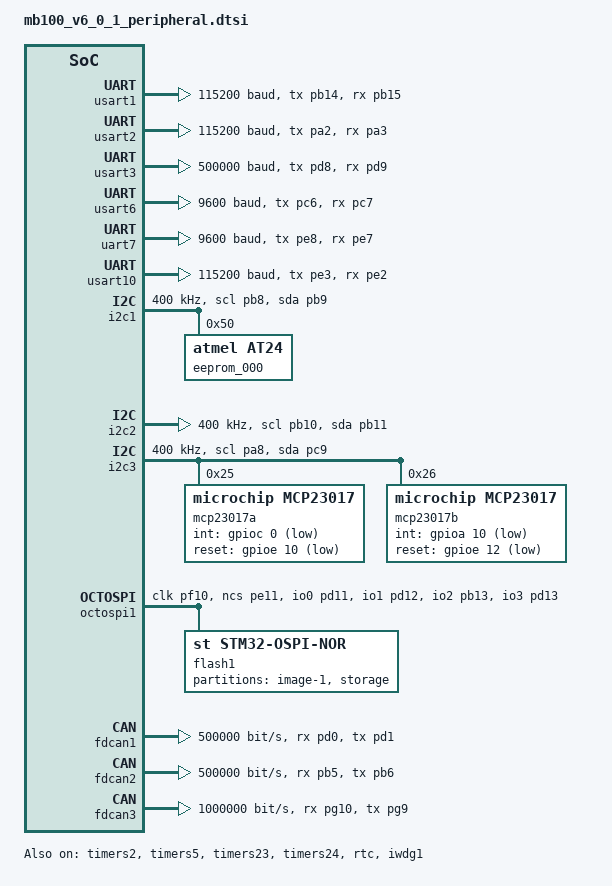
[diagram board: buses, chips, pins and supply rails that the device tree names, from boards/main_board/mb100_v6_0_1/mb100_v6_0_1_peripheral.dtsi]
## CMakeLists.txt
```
cmake_minimum_required(VERSION 3.20.0)
find_package(Zephyr REQUIRED HINTS $ENV{ZEPHYR_BASE})
project(HELLO_WORLD)

target_sources(app PRIVATE src/main.c)
```

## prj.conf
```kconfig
# Enable UART console for printk
CONFIG_PRINTK=y
CONFIG_SERIAL=y
CONFIG_CONSOLE=y


CONFIG_GPIO=y
CONFIG_I2C=y
CONFIG_I2C_INIT_PRIORITY=50
CONFIG_UART_CONSOLE=y
CONFIG_STDOUT_CONSOLE=y

CONFIG_MAIN_STACK_SIZE=2048

CONFIG_SHELL=y
CONFIG_SHELL_CMDS=y
CONFIG_SHELL_LOG_BACKEND=n
CONFIG_SHELL_ARGC_MAX=16
CONFIG_SHELL_LOG_FORMAT_TIMESTAMP=n
CONFIG_SHELL_PROMPT_UART="SkyCar:~$ "
CONFIG_SHELL_STACK_SIZE=4096

CONFIG_GPIO_SHELL=y
```

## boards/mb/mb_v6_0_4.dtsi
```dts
/* device tree for peripheral devices only use usart 3 500 000 */

&usart3 {
	//Serving: Logging, and Shell.
	pinctrl-0 = <&usart3_tx_pd8 &usart3_rx_pd9>;
	current-speed = <500000>;
	pinctrl-names = "default";
	status = "okay";
};
```

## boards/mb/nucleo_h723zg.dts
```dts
/*
 * Copyright (c) 2020 Alexander Kozhinov <ak.alexander.kozhinov@gmail.com>
 * SPDX-License-Identifier: Apache-2.0
 */

/dts-v1/;
#include <st/h7/stm32h723Xg.dtsi>
#include <st/h7/stm32h723zgtx-pinctrl.dtsi>
#include "arduino_r3_connector.dtsi"
#include <zephyr/dt-bindings/input/input-event-codes.h>

/*
 * WARNING:
 * JP6 and SB72 must be ON when using Ethernet.
 */

/ {
	model = "STMicroelectronics STM32H723ZG-NUCLEO board";
	compatible = "st,stm32h723zg-nucleo";

	chosen {
		zephyr,console = &usart3;
		zephyr,shell-uart = &usart3;
		zephyr,sram = &sram0;
		zephyr,flash = &flash0;
	};

	leds: leds {
		compatible = "gpio-leds";
		green_led: led_0 {
			gpios = <&gpiob 0 GPIO_ACTIVE_HIGH>;
			label = "User LD1";
		};
		yellow_led: led_1 {
			gpios = <&gpioe 1 GPIO_ACTIVE_HIGH>;
			label = "User LD2";
		};
		red_led: led_2 {
			gpios = <&gpiob 14 GPIO_ACTIVE_HIGH>;
			label = "User LD3";
		};
	};


	gpio_keys {
		compatible = "gpio-keys";
		user_button: button_0 {
			label = "User";
			gpios = <&gpioc 13 GPIO_ACTIVE_HIGH>;
			zephyr,code = <INPUT_KEY_0>;
		};
	};

	
};

&clk_hse {
	clock-frequency = <DT_FREQ_M(25)>; /* HSE 25MHz clock */
	status = "okay";
};

&clk_lsi {
	status = "okay";
};

&pll {
	div-m = <4>;
	mul-n = <88>;
	div-p = <1>;
	div-q = <5>;
	div-r = <2>;
	clocks = <&clk_hse>;
	status = "okay";
};

&rcc {
	clocks = <&pll>;
	clock-frequency = <DT_FREQ_M(550)>;
	d1cpre = <1>;
	hpre = <2>;    /* HCLK: 275   MHz */
	d1ppre = <2>;  /* APB1: 137.5 MHz */
	d2ppre1 = <2>; /* APB2: 137.5 MHz */
	d2ppre2 = <2>; /* APB3: 137.5 MHz */
	d3ppre = <2>;  /* APB4: 137.5 MHz */
};

&usart3 {
	pinctrl-0 = <&usart3_tx_pd8 &usart3_rx_pd9>;
	pinctrl-names = "default";
	current-speed = <115200>;
	status = "okay";
};
```

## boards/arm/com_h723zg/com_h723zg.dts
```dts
/*
 *        Copyright (c) PINGSPACE SDN BHD
 *        Author: Manojkumar <manojkumar.subramaniam@pingspace.co>
 *        SPDX-License-Identifier: Apache-2.0
 *        DTS FOR CUSTOM V1 BOARD (BSP)
 */
/dts-v1/;
#include <st/h7/stm32h723Xg.dtsi>
#include <st/h7/stm32h723zgtx-pinctrl.dtsi>
#include <zephyr/dt-bindings/input/input-event-codes.h>

/ {
	chosen {
		zephyr,sram = &sram0;
		zephyr,flash = &flash0;
	};
};

&clk_hse {
	clock-frequency = <DT_FREQ_M(25)>; /* HSE 25MHz clock */
	status = "okay";
};

&clk_lsi {
	status = "okay";
};

&pll {
	div-m = <4>;
	mul-n = <88>;
	div-p = <1>;
	div-q = <5>;
	div-r = <2>;
	clocks = <&clk_hse>;
	status = "okay";
};

&rcc {
	clocks = <&pll>;
	clock-frequency = <DT_FREQ_M(550)>;
	d1cpre = <1>;
	hpre = <2>;    /* HCLK: 275   MHz */
	d1ppre = <2>;  /* APB1: 137.5 MHz */
	d2ppre1 = <2>; /* APB2: 137.5 MHz */
	d2ppre2 = <2>; /* APB3: 137.5 MHz */
	d3ppre = <2>;  /* APB4: 137.5 MHz */
};
```

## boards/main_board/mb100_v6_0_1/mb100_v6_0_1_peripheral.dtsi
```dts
/*
 *        Copyright (c) PINGSPACE SDN BHD
 *        Author: Yi Yun Lau <lau.yi.yun@pingspace.co>
 *        SPDX-License-Identifier: Apache-2.0
 *        Peripheral support and configs
 */

/*uarts start*/
&usart1 {
	//Serving: SC - ESP32 Communication
	pinctrl-0 = <&usart1_tx_pb14 &usart1_rx_pb15>;
	current-speed = <115200>;
	dmas = <&dmamux1 2 42 0x440>,
	       <&dmamux1 1 41 0x480>;
	pinctrl-names = "default";
	dma-names = "tx", "rx";
	status = "okay";
};

&usart2 {
	//Serving: SC - ESP32 Boot Flash
	pinctrl-0 = <&usart2_tx_pa2 &usart2_rx_pa3>;
	current-speed = <115200>;
	dmas = <&dmamux1 4 44 0x440>,
	       <&dmamux1 3 43 0x480>;
	pinctrl-names = "default";
	dma-names = "tx", "rx";
	status = "okay";
};

&usart3 {
	//Serving: Logging, and Shell.
	pinctrl-0 = <&usart3_tx_pd8 &usart3_rx_pd9>;
	current-speed = <500000>;
	pinctrl-names = "default";
	status = "okay";
};

&usart6 {
	//Serving: Rail QR Scanner
	pinctrl-0 = <&usart6_tx_pc6 &usart6_rx_pc7>;
	current-speed = <9600>;
	pinctrl-names = "default";
	status = "okay";
};

&uart7 {
	//Serving: Scanner A
	pinctrl-0 = <&uart7_tx_pe8 &uart7_rx_pe7>;
	current-speed = <9600>;
	pinctrl-names = "default";
	status = "okay";
};

&usart10 {
	//Serving: Zigbee
	pinctrl-0 = <&usart10_tx_pe3 &usart10_rx_pe2>;
	current-speed = <115200>;
	dmas = <&dmamux1 12 119 0x440>,
	       <&dmamux1 11 118 0x480>;
	pinctrl-names = "default";
	dma-names = "tx", "rx";
	status = "okay";
};
/*uarts end*/

/* i2c start */
&i2c1 {
	//Serving: EEPROM
	pinctrl-0 = <&i2c1_scl_pb8 &i2c1_sda_pb9>;
	pinctrl-names = "default";
	status = "okay";
	clock-frequency = <I2C_BITRATE_FAST>;

	// eeprom reg address: 1010 (standard eeprom initial address)
	// A0: 0, A1: 0, A2: 0: 000
	// eeprom i2c address: 0b 1010000 (0x50)
	eeprom_000: eeprom@50 {
		compatible = "atmel,at24";
		reg = <0x50>;
		size = <65536>;
		pagesize = <32>;
		address-width = <16>;
		timeout = <5>;
	};
};

&i2c2 {
	//Serving: Temperature Sensor & IMU Sensor
	pinctrl-0 = <&i2c2_scl_pb10 &i2c2_sda_pb11>;
	pinctrl-names = "default";
	status = "okay";
	clock-frequency = <I2C_BITRATE_FAST>;
};

&i2c3 {
	//Serving: IO Expander
	pinctrl-0 = <&i2c3_scl_pa8 &i2c3_sda_pc9>;
	pinctrl-names = "default";
	status = "okay";
	clock-frequency = <I2C_BITRATE_FAST>;

	mcp23017a: mcp23017a@25 { // Encoder Mux (Outputs)
		compatible = "microchip,mcp23017";
		reg = <0x25>;
		gpio-controller;
		#gpio-cells = <2>;
		ngpios = <16>;
		status = "okay";
		interrupt-controller;
		int-gpios = <&gpioc 0 GPIO_ACTIVE_LOW>; /*PC0*/
		reset-gpios = <&gpioe 10 GPIO_ACTIVE_LOW>; /*PE10*/
	};

	mcp23017b: mcp23017b@26 { // Panel Switch (Inputs Interrupt)
		compatible = "microchip,mcp23017";
		reg = <0x26>;
		gpio-controller;
		#gpio-cells = <2>;
		ngpios = <16>;
		status = "okay";
		interrupt-controller;
		int-gpios = <&gpioa 10 GPIO_ACTIVE_LOW>; /*PA10*/
		reset-gpios = <&gpioe 12 GPIO_ACTIVE_LOW>; /*PE12*/
	    };
};
/* i2c end */

/* spi start */
&octospi1 {
	pinctrl-0 = <&octospim_p1_clk_pf10 &octospim_p1_ncs_pe11
	&octospim_p1_io0_pd11 &octospim_p1_io1_pd12
	&octospim_p1_io2_pb13 &octospim_p1_io3_pd13>;
	pinctrl-names = "default";
	status = "okay";

    	flash1: flash1@90000000{
		compatible = "st,stm32-ospi-nor";
		reg = <0x90000000 DT_SIZE_M(64)>; /* 512 Mbits */
		size = <DT_SIZE_M(64)>;
		spi-bus-width = <OSPI_QUAD_MODE>;
		data-rate = <OSPI_STR_TRANSFER>;
		ospi-max-frequency = <50000000>;
		writeoc = "PP_1_4_4";
		four-byte-opcodes;
		status = "okay";
    	};
};
/* spi end */

&flash0 {
	partitions {
		compatible = "fixed-partitions";
		#address-cells = <1>;
		#size-cells = <1>;
		boot_partition: partition@0 {
			label = "mcuboot";
			reg = <0x00000000 DT_SIZE_K(128)>;
		};
		slot0_partition: partition@20000 {
			label = "image-0";
			reg = <0x00020000 DT_SIZE_K(768)>;
		};
	};
};

&flash1 {
	partitions {
		compatible = "fixed-partitions";
		#address-cells = <1>;
		#size-cells = <1>;
	
		slot1_partition: partition@20000 {
			label = "image-1";
			reg = <0x00020000 DT_SIZE_K(768)>; /* Secondary External firmware */
		};
	
		storage_partition: partition@E0000 {
			label = "storage";
			reg = <0x000E0000 0x4000000>; /* XMB for storage */
		};
	};  
};

/*dmas start*/
&dma1 {
	status = "okay";
};

&dma2 {
	status = "okay";
};

&dmamux1 {
	status = "okay";
};
/*dmas end*/

/*timers start*/
&timers2 {
	status = "okay";
	st,prescaler = <0>;
	// serving timers2 encoder mode (ch1 & ch2)
	tim2enc_mode: tim2enc_mode {
		status = "okay";
		compatible = "st,stm32-qdec";
		pinctrl-0 = <&tim2_ch1_pa5 &tim2_ch2_pb3>;
		pinctrl-names = "default";
		st,counts-per-revolution = <1>;
	};
};

&timers5 {
	status = "okay";
	st,prescaler = <0>;
	// serving timers5 encoder mode (ch1 & ch2)
	tim5enc_mode: tim5enc_mode {
		status = "okay";
		compatible = "st,stm32-qdec";
		pinctrl-0 = <&tim5_ch1_pa0 &tim5_ch2_pa1>;
		pinctrl-names = "default";
		st,counts-per-revolution = <1>;
	};
};

&timers23 {
	status = "okay";
	st,prescaler = <0>;
	// serving timers23 encoder mode (ch1 & ch2)
	tim23enc_mode: tim23enc_mode {
		status = "okay";
		compatible = "st,stm32-qdec";
		pinctrl-0 = <&tim23_ch1_pf0 &tim23_ch2_pf1>;
		pinctrl-names = "default";
		st,counts-per-revolution = <1>;
	};
};

&timers24 {
	status = "okay";
	st,prescaler = <0>;
	// serving timers24 encoder mode (ch1 & ch2)
	tim24enc_mode: tim24enc_mode {
		status = "okay";
		compatible = "st,stm32-qdec";
		pinctrl-0 = <&tim24_ch1_pf11 &tim24_ch2_pf12>;
		pinctrl-names = "default";
		st,counts-per-revolution = <1>;
	};
};
/*timers end*/

/*rtc start*/
&rtc {
	status = "okay";
	clocks = <&rcc STM32_CLOCK_BUS_APB4 0x00010000>,
		 <&rcc STM32_SRC_LSI RTC_SEL(2)>;
};

&backup_sram {
	status = "okay";
};
/*rtc end*/

&iwdg1 {
	status = "okay";
};

&fdcan1 {
	pinctrl-0 = <&fdcan1_rx_pd0 &fdcan1_tx_pd1>;
	pinctrl-names = "default";
	clocks = <&rcc STM32_CLOCK_BUS_APB1_2 0x00000100>,
	         <&rcc STM32_SRC_HSE FDCAN_SEL(0)>;
	status = "okay";

	bitrate = <500000>;
	bitrate-data = <500000>;
	sample-point = <750>;
	sample-point-data = <750>;
	clk-divider = <1>;
};

&fdcan2 {
	pinctrl-0 = <&fdcan2_rx_pb5 &fdcan2_tx_pb6>;
	pinctrl-names = "default";
	clocks = <&rcc STM32_CLOCK_BUS_APB1_2 0x00000100>,
	         <&rcc STM32_SRC_HSE FDCAN_SEL(0)>;
	status = "okay";

	bitrate = <500000>;
	bitrate-data = <500000>;
	sample-point = <750>;
	sample-point-data = <750>;
	clk-divider = <1>;
};

&fdcan3 {
	pinctrl-0 = <&fdcan3_rx_pg10 &fdcan3_tx_pg9>;
	pinctrl-names = "default";
	clocks = <&rcc STM32_CLOCK_BUS_APB1_2 0x00000100>,
	         <&rcc STM32_SRC_HSE FDCAN_SEL(0)>;
	status = "okay";

	bitrate = <1000000>;
	bitrate-data = <1000000>;
	sample-point = <750>;
	sample-point-data = <750>;
	clk-divider = <1>;
};
```

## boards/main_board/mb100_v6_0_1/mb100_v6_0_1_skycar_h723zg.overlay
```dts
/*
 *        Copyright (c) PINGSPACE SDN BHD
 *        Author: Iskandar Putra <mohd.iskandar.putra@pingspace.co>
 *        SPDX-License-Identifier: Apache-2.0
 *        DTS FOR CUSTOM V2.0.1 BOARD (BSP)
 */

#include "mb100_v6_0_1_peripheral.dtsi"
#include "mb100_v6_0_1_skycar_io_master.dtsi"


/**** New node additions to root ****/
/ {
	aliases {
		uart-a = &usart1; //esp32
		uart-b = &usart2; //esp32 H7 Flash
		uart-c = &usart10;
		uart-int-a = &usart6; //Rail scanner
		uart-int-b = &uart7; //Scanner A
		uart-int-c = &uart9; //Scanner B
		encoder-a = &tim2enc_mode;
		encoder-b = &tim5enc_mode;
		encoder-c = &tim23enc_mode;
		encoder-d = &tim24enc_mode;
		// pwm-ir = &pwm_pulse_ctl;
		eeprom-0 = &eeprom_000;
		i2c-2 = &i2c2;
		rtc = &rtc;
		can-a = &fdcan1;
		can-b = &fdcan2;
		can-c = &fdcan3;
		io-expander-a = &mcp23017a;
		io-expander-b = &mcp23017b;
		spi-flash0 = &flash1;
	};
	chosen {
		zephyr,console = &usart3; //logging
		zephyr,shell-uart = &usart3;
		zephyr,itcm = &itcm;
		zephyr,dtcm = &dtcm;
	};

};

/ {
	dtcm: memory@20000000 {
		compatible = "zephyr,memory-region", "arm,dtcm";
		reg = <0x20000000 DT_SIZE_K(128)>;
		zephyr,memory-region = "DTCM";
	};

	itcm: memory@0 {
		compatible = "zephyr,memory-region", "arm,itcm";
		reg = <0x00000000 DT_SIZE_K(64)>;
		zephyr,memory-region = "ITCM";
	};
};
```

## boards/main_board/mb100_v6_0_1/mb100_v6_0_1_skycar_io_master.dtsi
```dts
/*
 *        Copyright (c) PINGSPACE SDN BHD
 *        Author: Iskandar Putra <mohd.iskandar.putra@pingspace.co>
 *        SPDX-License-Identifier: Apache-2.0
 *        list of the IO used in skycar
 */

/ {
	inputs_outputs: io {
		
		io_expander_inputs {
			compatible = "gpio-keys";
			panel_switch_offline: in_io0_26 {
				gpios = <&mcp23017b 0 GPIO_ACTIVE_HIGH>;
				label = "IO EXP B IO0 - GPA0 - PANEL BTN OFFLINE";
			};

			panel_switch_online: in_io1_26 {
				gpios = <&mcp23017b 1 GPIO_ACTIVE_HIGH>;
				label = "IO EXP B IO1 - GPA1 - PANEL BTN ONLINE";
			};

			panel_switch_wex_up: in_io2_26 {
				gpios = <&mcp23017b 2 GPIO_ACTIVE_HIGH>;
				label = "IO EXP B IO2 - GPA2 - PANEL BTN WEX UP";
			};

			panel_switch_wex_down: in_io3_26 {
				gpios = <&mcp23017b 3 GPIO_ACTIVE_HIGH>;
				label = "IO EXP B IO3 - GPA3 - PANEL BTN WEX DOWN";
			};

			panel_switch_winch_up: in_io4_26 {
				gpios = <&mcp23017b 4 GPIO_ACTIVE_HIGH>;
				label = "IO EXP B IO4 - GPA4 - PANEL BTN WINCH UP";
			};

			panel_switch_winch_down: in_io5_26 {
				gpios = <&mcp23017b 5 GPIO_ACTIVE_HIGH>;
				label = "IO EXP B IO5 - GPA5 - PANEL BTN WINCH DOWN";
			};

			panel_switch_gripper_open: in_io6_26 {
				gpios = <&mcp23017b 6 GPIO_ACTIVE_HIGH>;
				label = "IO EXP B IO6 - GPA6 - PANEL BTN GRIPPER OPEN";
			};

			panel_switch_gripper_close: in_io7_26 {
				gpios = <&mcp23017b 7 GPIO_ACTIVE_HIGH>;
				label = "IO EXP B IO7 - GPA7 - PANEL BTN GRIPPER CLOSE";
			};
		};

		io_expander_outputs {
			compatible = "gpio-leds";
			led_strip_red_a: out_io0_27 {
				gpios = <&mcp23017a 0 GPIO_ACTIVE_HIGH>;
				label = "IO EXP A IO0 - GPA0 - LED STRIP RED A";
			};

			led_strip_green_a: out_io1_27 {
				gpios = <&mcp23017a 1 GPIO_ACTIVE_HIGH>;
				label = "IO EXP A IO1 - GPA1 - LED STRIP GREEN A";
			};

			led_strip_blue_a: out_io2_27 {
				gpios = <&mcp23017a 2 GPIO_ACTIVE_HIGH>;
				label = "IO EXP A IO2 - GPA2 - LED STRIP BLUE A";
			};

			mux12_io_oe: out_io3_27 {
				gpios = <&mcp23017a 3 GPIO_ACTIVE_HIGH>;
				label = "IO EXP A IO3 - GPA3 - MUX1,2 1OE AND 2OE";
			};

			mux1_io_s0: out_io4_27 {
				gpios = <&mcp23017a 4 GPIO_ACTIVE_HIGH>;
				label = "IO EXP A IO4 - GPA4 - MUX1 S0";
			};

			mux1_io_s1: out_io5_27 {
				gpios = <&mcp23017a 5 GPIO_ACTIVE_HIGH>;
				label = "IO EXP A IO5 - GPA5 - MUX1 S1";
			};

			mux2_io_s0: out_io6_27 {
				gpios = <&mcp23017a 6 GPIO_ACTIVE_HIGH>;
				label = "IO EXP A IO6 - GPA6 - MUX2 S0";
			};

			mux2_io_s1: out_io7_27 {
				gpios = <&mcp23017a 7 GPIO_ACTIVE_HIGH>;
				label = "IO EXP A IO7 - GPA7 - MUX2 S1";
			};

			mux34_io_oe: out_io8_27 {
				gpios = <&mcp23017a 8 GPIO_ACTIVE_HIGH>;
				label = "IO EXP A IO8 - GPB0 - MUX3,4 1OE AND 2OE";
			};

			mux3_io_s0: out_io9_27 {
				gpios = <&mcp23017a 9 GPIO_ACTIVE_HIGH>;
				label = "IO EXP A IO9 - GPB1 - MUX3 S0";
			};

			mux3_io_s1: out_io10_27 {
				gpios = <&mcp23017a 10 GPIO_ACTIVE_HIGH>;
				label = "IO EXP A IO10 - GPB2 - MUX3 S1";
			};

			mux4_io_s0: out_io11_27 {
				gpios = <&mcp23017a 11 GPIO_ACTIVE_HIGH>;
				label = "IO EXP A IO11 - GPB3 -  MUX4 S0";
			};

			mux4_io_s1: out_io12_27 {
				gpios = <&mcp23017a 12 GPIO_ACTIVE_HIGH>;
				label = "IO EXP A IO12 - GPB4 - MUX4 S1";
			};
		};

		/*Winching Motor driver controls*/
		winching_module {
			winching_module_sensors {
				compatible = "gpio-keys";
				platform_limit_right_a: platform_limit_right_a_sensor {
					gpios = <&gpiog 7 GPIO_ACTIVE_HIGH>; /*PG7*/
					label = "SENSOR_PG7";
				};

				platform_limit_left_a: platform_limit_left_a_sensor {
					gpios = <&gpiog 6 GPIO_ACTIVE_HIGH>; /*PG6*/
					label = "SENSOR_PG6";
				};

				platform_detect_a: platform_detect_a_sensor {
					gpios = <&gpioc 13 GPIO_ACTIVE_HIGH>; /*PE14*/
					label = "SENSOR_PC13";
				};

				bin_detect_a: bin_detect_a_sensor {
					gpios = <&gpiog 5 GPIO_ACTIVE_HIGH>; /*PG5*/
					label = "SENSOR_PG5";
				};
			};
		};

		/* Wheel exchange module */
		wheel_exchange_module {
			wheel_exchange_module_sensors {
				compatible = "gpio-keys";
				wex_x_a: wheel_exchange_x_a_sensor {
					gpios = <&gpiod 2 GPIO_ACTIVE_LOW>; /*PD2*/
					label = "SENSOR_PD2";
				};

				wex_y_a: wheel_exchange_y_a_sensor {
					gpios = <&gpiod 3 GPIO_ACTIVE_LOW>; /*PD3*/
					label = "SENSOR_PD3";
				};

				wex_xy_check_a: wheel_exchange_xy_check_sensor {
					gpios = <&gpiod 4 GPIO_ACTIVE_LOW>; /*PD4*/
					label = "SENSOR_PD4";
				};

				wex_xy_a: wheel_exchange_xy_sensor {
					gpios = <&gpiod 6 GPIO_ACTIVE_LOW>; /*PD6*/
					label = "SENSOR_PD6";
				};

				wex_x_b: wheel_exchange_x_b_sensor {
					gpios = <&gpiod 5 GPIO_ACTIVE_LOW>; /*PD5*/
					label = "SENSOR_PD5";
				};

				wex_y_b: wheel_exchange_y_b_sensor {
					gpios = <&gpiog 11 GPIO_ACTIVE_LOW>; /*PG11*/
					label = "SENSOR_PG11";
				};

				wex_xy_check_b: wheel_exchange_xy_check_b_sensor {
					gpios = <&gpiog 12 GPIO_ACTIVE_LOW>; /*PG12*/
					label = "SENSOR_PG12";
				};

				wex_xy_b: wheel_exchange_xy_b_sensor {
					gpios = <&gpiod 7 GPIO_ACTIVE_LOW>; /*PD7*/
					label = "SENSOR_PD7";
				};
			};
		};

		/*Wheel Motor sensors*/
		wheel_motor_module {
			wheel_motor_sensors {
				compatible = "gpio-keys";
				left_rail_sensor: left_rail_sensor {
					gpios = <&gpiof 4 GPIO_ACTIVE_HIGH>; /*PF4*/
					label = "SENSOR_PF4";
				};

				right_rail_sensor: right_rail_sensor {
					gpios = <&gpiof 5 GPIO_ACTIVE_HIGH>; /*PF5*/
					label = "SENSOR_PF5";
				};

				front_rail_sensor: front_rail_sensor {
					gpios = <&gpiof 2 GPIO_ACTIVE_HIGH>; /*PF2*/
					label = "SENSOR_PF2";
				};

				back_rail_sensor: back_rail_sensor {
					gpios = <&gpiof 3 GPIO_ACTIVE_HIGH>; /*PF3*/
					label = "SENSOR_PF3";
				};
			};
		};

		/* Power module */
		power_module {
			power_module_control {
				compatible = "gpio-keys";
				pms_fan_ctrl: pms_fan_control {
					gpios = <&gpioa 4 GPIO_ACTIVE_HIGH>; /*PA4*/
					label = "PMS_FAN_CTRL_PA4";
				};

				sens_pwr_ctrl: sens_power_control {
					gpios = <&gpioa 6 GPIO_ACTIVE_HIGH>; /*PA6*/
					label = "SENS_POW_PA6";
				};

				wch_pwr_ctrl: winch_power_control {
					gpios = <&gpioc 5 GPIO_ACTIVE_HIGH>; /*PC5*/
					label = "WINCH_POW_CTRL_PC5";
				};

				wch_rst_a_ctrl: winch_reset_a_control {
					gpios = <&gpioe 9 GPIO_ACTIVE_HIGH>; /*PE9*/
					label = "WINCH_RESET_A_CTRL_PE9";
				};

				recom_pwr_ctrl: recom_power_control {
					gpios = <&gpiob 0 GPIO_ACTIVE_HIGH>; /*PB0*/
					label = "REC_POW_CTRL_PB0";
				};

				relay_ctrl: relay_control {
					gpios = <&gpiob 1 GPIO_ACTIVE_HIGH>; /*PB1*/
					label = "RELAY_POW_CTRL_PB1";
				};

				wch_mtr_a_pwr_ctrl: winch_motor_a_power_control {
					gpios = <&gpiob 2 GPIO_ACTIVE_HIGH>; /*PB2*/
					label = "WINCH_MOTOR_A_POW_CTRL_PB2";
				};

				wex_mtr_pwr_ctrl: wex_motor_power_control {
					gpios = <&gpiof 15 GPIO_ACTIVE_HIGH>; /*PF15*/
					label = "WEX_MOTOR_POW_CTRL_PF15";
				};

				mcb_mtr_x_pwr_ctrl: mcube_motor_x_power_control {
					gpios = <&gpiof 13 GPIO_ACTIVE_HIGH>; /*PF13*/
					label = "MCUBE_MOTOR_X_POW_CTRL_PF13";
				};

				mcb_mtr_y_pwr_ctrl: mcube_motor_y_power_control {
					gpios = <&gpiof 14 GPIO_ACTIVE_HIGH>; /*PF14*/
					label = "MCUBE_MOTOR_X_POW_CTRL_PF14";
				};
			};

			power_module_feedback {
				compatible = "gpio-keys";
				wch_rst_a_fb: winch_reset_a_feedback {
					gpios = <&gpiof 6 GPIO_ACTIVE_HIGH>; /*PF6*/
					label = "WINCH_RESET_A_FEEDBACK_PF6";
				};

				wch_mtr_a_pwr_fb: winch_motor_a_power_feedback {
					gpios = <&gpiof 9 GPIO_ACTIVE_LOW>; /*PF9*/
					label = "WINCH_MOTOR_A_POWER_FEEDBACK_PF9";
				};

				wex_mtr_a_pwr_fb: wex_motor_a_power_feedback {
					gpios = <&gpiof 8 GPIO_ACTIVE_LOW>; /*PF8*/
					label = "WEX_MOTOR_A_POWER_FEEDBACK_PF8";
				};

				mcb_mtr_x_a_pwr_fb: mcube_motor_x_a_power_feedback {
					gpios = <&gpioc 10 GPIO_ACTIVE_LOW>; /*PC10*/
					label = "MCUBE_MOTOR_X_A_POWER_FEEDBACK_PC10";
				};

				mcb_mtr_y_a_pwr_fb: mcube_motor_y_a_power_feedback {
					gpios = <&gpioa 15 GPIO_ACTIVE_LOW>; /*PA15*/
					label = "MCUBE_MOTOR_Y_A_POWER_FEEDBACK_PA15";
				};

				pwr_a_uv_fb: power_a_under_voltage_feedback {
					gpios = <&gpioe 15 GPIO_ACTIVE_LOW>; /*PE15*/
					label = "POWER_A_UNDER_VOLTAGE_FEEDBACK_PE15";
				};

				pwr_a_oc_fb: power_a_over_current_feedback {
					gpios = <&gpiog 13 GPIO_ACTIVE_LOW>; /*PG13*/
					label = "POWER_A_OVER_CURRENT_FEEDBACK_PG13";
				};
			};
		};

		/* System state module */
		system_state_module {
			system_state_controls {
				compatible = "gpio-keys";
				imu_reset: imu_reset {
					gpios = <&gpioa 7 GPIO_ACTIVE_HIGH>; /*PA7*/
					label = "IMU_RESET_PA7";
				};

				xbee_manual_reset: xbee_manual_reset {
					gpios = <&gpioe 13 GPIO_ACTIVE_HIGH>; /*PE13*/
					label = "XBEE_MANUAL_RESET_PE13";
				};
			};

			system_state_sensors {
				compatible = "gpio-keys";
				estop: emergency_stop_sensor {
					gpios = <&gpioc 1 GPIO_ACTIVE_LOW>; /*PC1*/
					label = "SENSOR_PC1";
				};

				imu_st: imu_status {
					gpios = <&gpioa 9 GPIO_ACTIVE_LOW>; /*PA9*/
					label = "IMU_STATUS_PA9";
				};

				ir_recv_a: aux_ir_receive {
					gpios = <&gpioc 11 GPIO_ACTIVE_HIGH>; /*PC11*/
					label = "AUX_IR_RECEIVE_PC11";
				};

				ir_trans_a: ir_transmit {
					gpios = <&gpioe 5 GPIO_ACTIVE_HIGH>; /*PE5*/
					label = "IR_TRANSMIT_PE5";
				};

				panel_switch_man_ops: manual_operation_switch {
					gpios = <&gpioc 12 GPIO_ACTIVE_HIGH>; /*PC12*/
					label = "PANEL_SWITCH_MANUAL_OPERATION_PC12";
				};
			};

			leds {
				compatible = "gpio-leds";
				green_led: led_0 {
					gpios = <&gpiob 4 GPIO_ACTIVE_HIGH>; /*PB4*/
					label = "User LD1";
				};

				yellow_led: led_1 {
					gpios = <&gpiog 15 GPIO_ACTIVE_HIGH>; /*PG15*/
					label = "User LD2";
				};
			};
		};
	};
};
```

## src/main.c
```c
/* Future need to display using uart 3 and printf at mainboard */
#include <zephyr/kernel.h>
#include <zephyr/drivers/gpio.h>
#include <stdbool.h>

/* Create first hello world program */
#include <stdio.h>

const struct device *uart_dev;

int main(void) {
    printf("Hello, World!\n");
    return 0;
}

/* End of program */
```
